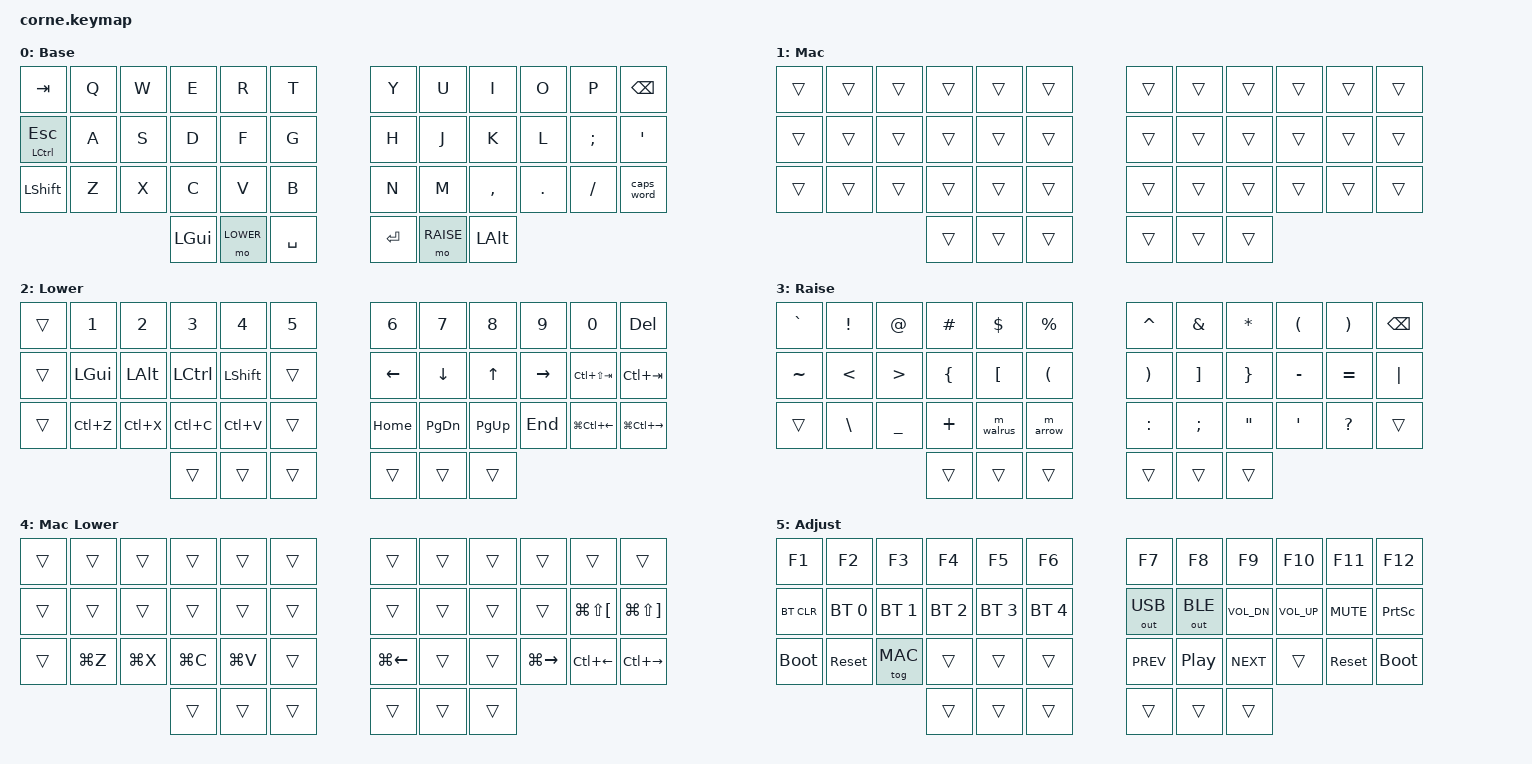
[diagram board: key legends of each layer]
/*
 * Corne — keymap do Erick
 *
 * Perfis Bluetooth:  1 = Windows   2 = Trabalho (Mac, liga o modo Mac sozinho)
 *
 * Sistema operacional: "US Internacional" (Windows) / "U.S. International – PC" (Mac).
 *   Acentos por tecla morta:  ' + a = á   ~ + a = ã   ^ + e = ê   ` + a = à   " + u = ü
 *   Cedilha:                  ' + c = ç
 *   Para o símbolo sozinho:   tecla morta + Espaço   (ex.: ' + Espaço = ')
 *
 * Modificadores em teclas fixas (sem home row mods, para não atrasar a digitação):
 *   ESC/CTRL  (à esquerda do A): toque = Esc, segurar = Ctrl (Control no Mac)
 *   polegar esquerdo de fora:    Win (Windows) / Cmd (Mac)
 *   polegar direito de fora:     Alt (Windows) / Option (Mac)
 *
 * Camadas: BASE | MAC (vazia, só ativa o MAC_LOWER) | LOWER (números/navegação/atalhos)
 *          RAISE (símbolos de código) | MAC_LOWER (atalhos do Mac)
 *          ADJUST = segurar LOWER + RAISE (F1-F12, Bluetooth, USB/BLE, mídia, bootloader)
 *
 * Posições das teclas:
 *   0  1  2  3  4  5      6  7  8  9 10 11
 *  12 13 14 15 16 17     18 19 20 21 22 23
 *  24 25 26 27 28 29     30 31 32 33 34 35
 *           36 37 38     39 40 41
 */

#include <behaviors.dtsi>
#include <dt-bindings/zmk/keys.h>
#include <dt-bindings/zmk/bt.h>
#include <dt-bindings/zmk/outputs.h>

/* A ordem das camadas no bloco "keymap" abaixo TEM que seguir estes números.
 * MAC = 1 também está em CONFIG_ZMK_MAC_PROFILE_LAYER (Kconfig do módulo). */
#define BASE      0
#define MAC       1
#define LOWER     2
#define RAISE     3
#define MAC_LOWER 4
#define ADJUST    5

/ {
    behaviors {
        /* Toque = Esc, segurar = Ctrl. "hold-preferred": vira Ctrl assim que outra
         * tecla é apertada, então Ctrl+C sai na hora, sem esperar. */
        ctl_esc: ctl_esc {
            compatible = "zmk,behavior-hold-tap";
            #binding-cells = <2>;
            flavor = "hold-preferred";
            tapping-term-ms = <200>;
            quick-tap-ms = <150>;
            bindings = <&kp>, <&kp>;
        };
    };

    macros {
        /* Go: := */
        m_walrus: m_walrus {
            compatible = "zmk,behavior-macro";
            #binding-cells = <0>;
            bindings = <&kp COLON &kp EQUAL>;
        };
        /* JS/TS: => */
        m_arrow: m_arrow {
            compatible = "zmk,behavior-macro";
            #binding-cells = <0>;
            bindings = <&kp EQUAL &kp GT>;
        };
    };

    conditional_layers {
        compatible = "zmk,conditional-layers";
        adjust_layer {
            if-layers = <LOWER RAISE>;
            then-layer = <ADJUST>;
        };
        mac_lower_layer {
            if-layers = <MAC LOWER>;
            then-layer = <MAC_LOWER>;
        };
    };

    keymap {
        compatible = "zmk,keymap";

        base_layer {
            display-name = "Base";
// ,------+------+------+------+------+------.   ,------+------+------+------+------+------.
// | TAB  |  Q   |  W   |  E   |  R   |  T   |   |  Y   |  U   |  I   |  O   |  P   | BSPC |
// |ESC/CT|  A   |  S   |  D   |  F   |  G   |   |  H   |  J   |  K   |  L   |  ;   |  '   |
// | SHFT |  Z   |  X   |  C   |  V   |  B   |   |  N   |  M   |  ,   |  .   |  /   | CAPW |
// `------+------+------+------+------+------|   |------+------+------+------+------+------'
//                      |WinCmd|LOWER | SPC  |   | ENT  |RAISE |AltOpt|
            bindings = <
   &kp TAB              &kp Q  &kp W  &kp E     &kp R      &kp T       &kp Y    &kp U      &kp I  &kp O  &kp P     &kp BSPC
   &ctl_esc LCTRL ESC   &kp A  &kp S  &kp D     &kp F      &kp G       &kp H    &kp J      &kp K  &kp L  &kp SEMI  &kp SQT
   &kp LSHFT            &kp Z  &kp X  &kp C     &kp V      &kp B       &kp N    &kp M      &kp COMMA &kp DOT &kp FSLH &caps_word
                                      &kp LGUI  &mo LOWER  &kp SPACE   &kp RET  &mo RAISE  &kp LALT
            >;
        };

        mac_layer {
            display-name = "Mac";
// Liga sozinho no perfil Bluetooth 2 (Lower+Raise+S); na mão: Lower+Raise+X.
// Não muda nenhuma tecla da base (Cmd = polegar esquerdo, Control = ESC/CT),
// só existe para ativar os atalhos do MAC_LOWER.
            bindings = <
   &trans &trans &trans &trans &trans &trans   &trans &trans &trans &trans &trans &trans
   &trans &trans &trans &trans &trans &trans   &trans &trans &trans &trans &trans &trans
   &trans &trans &trans &trans &trans &trans   &trans &trans &trans &trans &trans &trans
                        &trans &trans &trans   &trans &trans &trans
            >;
        };

        lower_layer {
            display-name = "Lower";
// ,------+------+------+------+------+------.   ,------+------+------+------+------+------.
// |      |  1   |  2   |  3   |  4   |  5   |   |  6   |  7   |  8   |  9   |  0   | DEL  |
// |      | GUI  | ALT  | CTRL | SHFT |      |   | LEFT | DOWN |  UP  |RIGHT |ABA ← |ABA → |
// |      | UNDO | CUT  | COPY |PASTE |      |   | HOME | PGDN | PGUP | END  |DESK ←|DESK →|
// `------+------+------+------+------+------|   |------+------+------+------+------+------'
//                      |      |      |      |   |      |      |      |
// ABA = aba do navegador/terminal (Ctrl+Shift+Tab / Ctrl+Tab)
// DESK = área de trabalho virtual (Win+Ctrl+← / →)
            bindings = <
   &trans  &kp N1     &kp N2     &kp N3     &kp N4     &kp N5    &kp N6    &kp N7     &kp N8    &kp N9    &kp N0              &kp DEL
   &trans  &kp LGUI   &kp LALT   &kp LCTRL  &kp LSHFT  &trans    &kp LEFT  &kp DOWN   &kp UP    &kp RIGHT &kp LC(LS(TAB))     &kp LC(TAB)
   &trans  &kp LC(Z)  &kp LC(X)  &kp LC(C)  &kp LC(V)  &trans    &kp HOME  &kp PG_DN  &kp PG_UP &kp END   &kp LG(LC(LEFT))    &kp LG(LC(RIGHT))
                                 &trans     &trans     &trans    &trans    &trans     &trans
            >;
        };

        raise_layer {
            display-name = "Raise";
// ,------+------+------+------+------+------.   ,------+------+------+------+------+------.
// |  `*  |  !   |  @   |  #   |  $   |  %   |   |  ^*  |  &   |  *   |  (   |  )   | BSPC |
// |  ~*  |  <   |  >   |  {   |  [   |  (   |   |  )   |  ]   |  }   |  -   |  =   |  |   |
// |      |  \   |  _   |  +   |  :=  |  =>  |   |  :   |  ;   |  "*  |  '*  |  ?   |      |
// `------+------+------+------+------+------|   |------+------+------+------+------+------'
//                      |      |      |      |   |      |      |      |
// (*) tecla morta no US Internacional: aperte Espaço depois para sair o símbolo sozinho.
            bindings = <
   &kp GRAVE &kp EXCL &kp AT    &kp HASH  &kp DLLR    &kp PRCNT   &kp CARET &kp AMPS &kp ASTRK &kp LPAR &kp RPAR  &kp BSPC
   &kp TILDE &kp LT   &kp GT    &kp LBRC  &kp LBKT    &kp LPAR    &kp RPAR  &kp RBKT &kp RBRC  &kp MINUS &kp EQUAL &kp PIPE
   &trans    &kp BSLH &kp UNDER &kp PLUS  &m_walrus   &m_arrow    &kp COLON &kp SEMI &kp DQT   &kp SQT  &kp QMARK &trans
                                &trans    &trans      &trans      &trans    &trans   &trans
            >;
        };

        mac_lower_layer {
            display-name = "Mac Lower";
// Ativa sozinha com Mac + Lower. Só muda o que é diferente no macOS:
// |      |      |      |      |      |      |   |      |      |      |      |ABA ← |ABA → |
// |      |⌘Z    |⌘X    |⌘C    |⌘V    |      |   |⌘LEFT |      |      |⌘RIGHT|SPC ← |SPC → |
// ABA  = aba do iTerm/navegador (⌘⇧[ / ⌘⇧])
// SPC  = Space/área de trabalho (Ctrl+← / Ctrl+→)
// ⌘← / ⌘→ = início / fim da linha, no lugar de Home / End
            bindings = <
   &trans  &trans      &trans      &trans      &trans      &trans    &trans        &trans  &trans  &trans         &trans              &trans
   &trans  &trans      &trans      &trans      &trans      &trans    &trans        &trans  &trans  &trans         &kp LG(LS(LBKT))    &kp LG(LS(RBKT))
   &trans  &kp LG(Z)   &kp LG(X)   &kp LG(C)   &kp LG(V)   &trans    &kp LG(LEFT)  &trans  &trans  &kp LG(RIGHT)  &kp LC(LEFT)        &kp LC(RIGHT)
                                   &trans      &trans      &trans    &trans        &trans  &trans
            >;
        };

        adjust_layer {
            display-name = "Adjust";
// ,------+------+------+------+------+------.   ,------+------+------+------+------+------.
// |  F1  |  F2  |  F3  |  F4  |  F5  |  F6  |   |  F7  |  F8  |  F9  | F10  | F11  | F12  |
// |BT CLR| BT1  | BT2  | BT3  | BT4  | BT5  |   | USB  | BLE  |VOL - |VOL + | MUTE |PRTSC |
// |BOOTLD|RESET | MAC  |      |      |      |   | PREV | PLAY | NEXT |      |RESET |BOOTLD|
// `------+------+------+------+------+------|   |------+------+------+------+------+------'
//                      |      |      |      |   |      |      |      |
// BT1 = Windows, BT2 = Trabalho (Mac). BOOTLD/RESET valem para a metade da tecla.
// MAC: liga/desliga o modo Mac na mão (ele já liga sozinho no perfil BT 2).
            bindings = <
   &kp F1        &kp F2        &kp F3        &kp F4        &kp F5        &kp F6         &kp F7          &kp F8          &kp F9          &kp F10         &kp F11     &kp F12
   &bt BT_CLR    &bt BT_SEL 0  &bt BT_SEL 1  &bt BT_SEL 2  &bt BT_SEL 3  &bt BT_SEL 4   &out OUT_USB    &out OUT_BLE    &kp C_VOL_DN    &kp C_VOL_UP    &kp C_MUTE  &kp PSCRN
   &bootloader   &sys_reset    &tog MAC      &trans        &trans        &trans         &kp C_PREV      &kp C_PP        &kp C_NEXT      &trans          &sys_reset  &bootloader
                                             &trans        &trans        &trans         &trans          &trans          &trans
            >;
        };
    };
};
